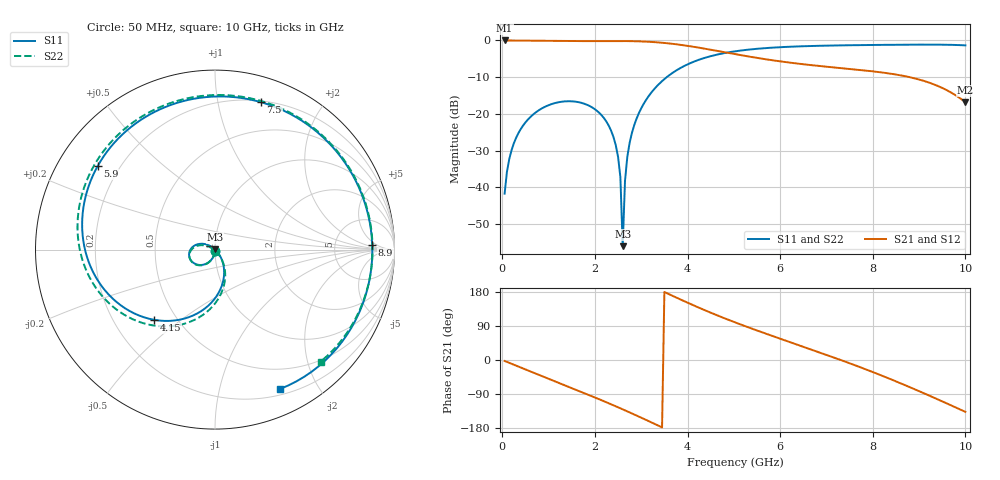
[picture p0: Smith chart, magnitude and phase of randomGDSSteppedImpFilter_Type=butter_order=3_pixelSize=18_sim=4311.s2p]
! freq	dB(S11)	phase(S11)	dB(S12)	phase(S12)
!  dB(S21)	phase(S21)	dB(S22)	phase(S22)
!S-par simulation data
#  GHz  S  DB  R 50
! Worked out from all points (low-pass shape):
!   200 points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, 50 MHz to 10 GHz, reference 50 ohm
!   highest |S21| = 0.00 dB at 50 MHz (marker M1); lowest = -16.8 dB at 10 GHz (marker M2)
!   |S21| within 3 dB of the highest: start of sweep to 4.707 GHz
!   lowest |S11| = -56.1 dB at 2.6 GHz (marker M3), VSWR 1.00, Z = 50.1 + j0.146 ohm
!   |S11| at or under -10 dB: start of sweep to 3.551 GHz
!   |S22| runs from -47.1 to -1.1 dB; largest |S21 - S12| = 0
!   S11 on the Smith chart (normalised r, x): 50 MHz: 1.00, -0.02; 4.15 GHz: 0.38, -0.40; 5.9 GHz: 0.12, +0.32; 7.5 GHz: 0.21, +1.34; 8.9 GHz: 14, +3; 10 GHz: 0.26, -1.53
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0.05  -41.75 -91.8  -0.00 -2.5  -0.00 -2.5  -41.75 -91.7
0.2  -29.89 -100.1  -0.02 -10.0  -0.02 -10.0  -29.89 -99.7
0.55  -21.60 -118.3  -0.07 -27.3  -0.07 -27.3  -21.60 -117.3
1.1  -17.19 -146.0  -0.15 -54.3  -0.15 -54.3  -17.19 -144.0
1.75  -17.16 -178.6  -0.19 -86.3  -0.19 -86.3  -17.17 -175.1
2.2  -21.24 158.0  -0.16 -109.0  -0.16 -109.0  -21.25 163.7
2.45  -28.52 144.1  -0.16 -122.1  -0.16 -122.1  -28.54 154.5
2.55  -37.24 136.7  -0.16 -127.4  -0.16 -127.4  -37.07 160.2
2.6  -56.05 67.5  -0.16 -130.1  -0.16 -130.1  -47.06 -137.0
2.65  -38.21 -42.3  -0.17 -132.8  -0.17 -132.8  -37.53 -60.6
2.75  -27.87 -50.3  -0.18 -138.3  -0.18 -138.3  -27.75 -53.4
3  -18.49 -65.0  -0.27 -152.2  -0.27 -152.2  -18.45 -63.2
3.4  -11.67 -88.3  -0.57 -174.9  -0.57 -174.9  -11.64 -84.3
4.15  -5.71 -131.0  -1.77 143.1  -1.77 143.1  -5.70 -124.5
5.05  -2.92 -176.8  -3.79 98.2  -3.79 98.2  -2.90 -167.5
5.9  -1.91 144.5  -5.52 60.6  -5.52 60.6  -1.90 156.8
6.7  -1.50 109.2  -6.77 26.5  -6.77 26.5  -1.50 124.6
7.5  -1.31 72.7  -7.76 -8.5  -7.76 -8.5  -1.30 91.1
8.35  -1.19 30.9  -8.99 -48.8  -8.99 -48.8  -1.19 51.5
8.9  -1.15 1.7  -10.32 -76.9  -10.32 -76.9  -1.14 22.6
9.5  -1.16 -32.8  -12.94 -109.2  -12.94 -109.2  -1.15 -12.9
10  -1.34 -65.1  -16.83 -136.8  -16.83 -136.8  -1.33 -46.6
